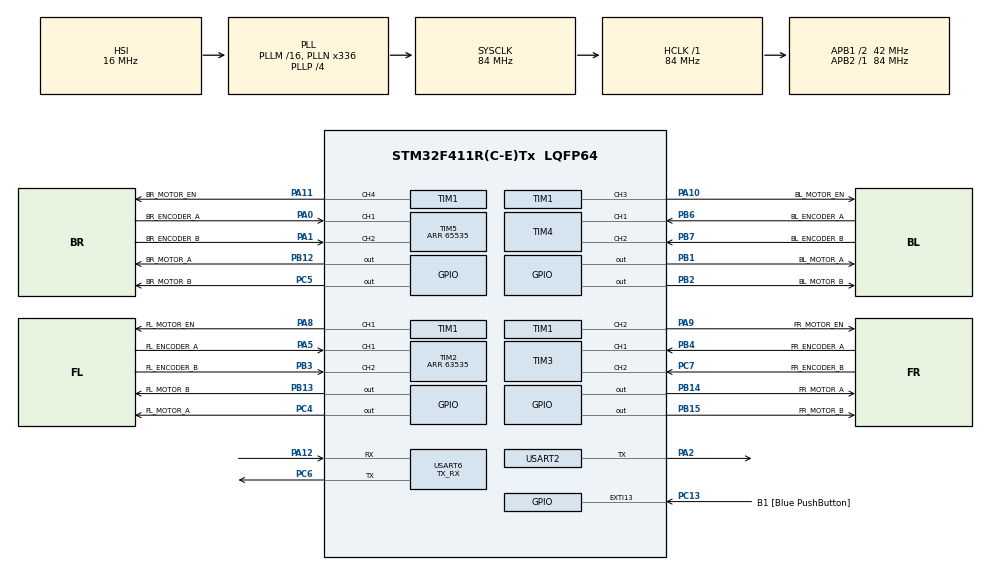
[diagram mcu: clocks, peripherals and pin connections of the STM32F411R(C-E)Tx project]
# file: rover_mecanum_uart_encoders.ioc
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Dma.Request0=USART6_RX
Dma.USART6_RX.0.Direction=DMA_PERIPH_TO_MEMORY
Dma.USART6_RX.0.FIFOMode=DMA_FIFOMODE_DISABLE
Dma.USART6_RX.0.Instance=DMA2_Stream1
Dma.USART6_RX.0.MemDataAlignment=DMA_MDATAALIGN_BYTE
Dma.USART6_RX.0.MemInc=DMA_MINC_ENABLE
Dma.USART6_RX.0.Mode=DMA_CIRCULAR
Dma.USART6_RX.0.PeriphDataAlignment=DMA_PDATAALIGN_BYTE
Dma.USART6_RX.0.PeriphInc=DMA_PINC_DISABLE
Dma.USART6_RX.0.Priority=DMA_PRIORITY_LOW
FREERTOS.Tasks01=defaultTask,24,512,StartDefaultTask,Default,NULL,Dynamic,NULL,NULL
FREERTOS.configUSE_NEWLIB_REENTRANT=1
Mcu.Family=STM32F4
Mcu.Name=STM32F411R(C-E)Tx
Mcu.Package=LQFP64
NVIC.DMA2_Stream1_IRQn=true\:5\:0\:false\:false\:true\:true\:false\:true\:true
NVIC.EXTI15_10_IRQn=true\:5\:0\:false\:false\:true\:true\:true\:true\:true
NVIC.PriorityGroup=NVIC_PRIORITYGROUP_4
NVIC.TIM1_TRG_COM_TIM11_IRQn=true\:15\:0\:false\:false\:true\:false\:false\:true\:true
NVIC.TIM1_UP_TIM10_IRQn=true\:5\:0\:false\:false\:true\:true\:true\:true\:true
NVIC.TimeBase=TIM1_TRG_COM_TIM11_IRQn
NVIC.TimeBaseIP=TIM11
NVIC.USART6_IRQn=true\:5\:0\:false\:false\:true\:true\:true\:true\:true
PA0-WKUP.GPIO_Label=BR_ENCODER_A
PA0-WKUP.Signal=S_TIM5_CH1
PA1.GPIO_Label=BR_ENCODER_B
PA1.Signal=S_TIM5_CH2
PA10.GPIO_Label=BL_MOTOR_EN
PA10.Signal=S_TIM1_CH3
PA11.GPIO_Label=BR_MOTOR_EN
PA11.Signal=S_TIM1_CH4
PA12.Mode=Asynchronous
PA12.Signal=USART6_RX
PA13.GPIO_Label=TMS
PA13.Mode=Serial_Wire
PA13.Signal=SYS_JTMS-SWDIO
PA14.GPIO_Label=TCK
PA14.Mode=Serial_Wire
PA14.Signal=SYS_JTCK-SWCLK
PA2.Mode=Half_duplex(single_wire_mode)
PA2.Signal=USART2_TX
PA5.GPIO_Label=FL_ENCODER_A
PA5.Signal=S_TIM2_CH1_ETR
PA8.GPIO_Label=FL_MOTOR_EN
PA8.Signal=S_TIM1_CH1
PA9.GPIO_Label=FR_MOTOR_EN
PA9.Signal=S_TIM1_CH2
PB1.GPIO_Label=BL_MOTOR_A
PB1.Signal=GPIO_Output
PB12.GPIO_Label=BR_MOTOR_A
PB12.Signal=GPIO_Output
PB13.GPIO_Label=FL_MOTOR_B
PB13.Signal=GPIO_Output
PB14.GPIO_Label=FR_MOTOR_A
PB14.Signal=GPIO_Output
PB15.GPIO_Label=FR_MOTOR_B
PB15.Signal=GPIO_Output
PB2.GPIO_Label=BL_MOTOR_B
PB2.Signal=GPIO_Output
PB3.GPIO_Label=FL_ENCODER_B
PB3.Signal=S_TIM2_CH2
PB4.GPIO_Label=FR_ENCODER_A
PB4.Signal=S_TIM3_CH1
PB6.GPIO_Label=BL_ENCODER_A
PB6.Signal=S_TIM4_CH1
PB7.GPIO_Label=BL_ENCODER_B
PB7.Signal=S_TIM4_CH2
PC13-ANTI_TAMP.GPIO_Label=B1 [Blue PushButton]
PC13-ANTI_TAMP.GPIO_ModeDefaultEXTI=GPIO_MODE_IT_RISING_FALLING
PC13-ANTI_TAMP.Signal=GPXTI13
PC14-OSC32_IN.Mode=LSE-External-Oscillator
PC14-OSC32_IN.Signal=RCC_OSC32_IN
PC15-OSC32_OUT.Mode=LSE-External-Oscillator
PC15-OSC32_OUT.Signal=RCC_OSC32_OUT
PC4.GPIO_Label=FL_MOTOR_A
PC4.Signal=GPIO_Output
PC5.GPIO_Label=BR_MOTOR_B
PC5.Signal=GPIO_Output
PC6.Mode=Asynchronous
PC6.Signal=USART6_TX
PC7.GPIO_Label=FR_ENCODER_B
PC7.Signal=S_TIM3_CH2
PH0\ -\ OSC_IN.Mode=HSE-External-Clock-Source
PH0\ -\ OSC_IN.Signal=RCC_OSC_IN
PH1\ -\ OSC_OUT.Mode=HSE-External-Clock-Source
PH1\ -\ OSC_OUT.Signal=RCC_OSC_OUT
ProjectManager.HeapSize=0x200
ProjectManager.StackSize=0x400
ProjectManager.TargetToolchain=STM32CubeIDE
RCC.48MHZClocksFreq_Value=84000000
RCC.AHBFreq_Value=84000000
RCC.APB1CLKDivider=RCC_HCLK_DIV2
RCC.APB1Freq_Value=42000000
RCC.APB1TimFreq_Value=84000000
RCC.APB2Freq_Value=84000000
RCC.APB2TimFreq_Value=84000000
RCC.CortexFreq_Value=84000000
RCC.FLatency-AdvancedSettings=FLASH_LATENCY_2
RCC.HCLKFreq_Value=84000000
RCC.HSE_VALUE=8000000
RCC.HSI_VALUE=16000000
RCC.PLLN=336
RCC.PLLP=RCC_PLLP_DIV4
RCC.SYSCLKFreq_VALUE=84000000
RCC.SYSCLKSource=RCC_SYSCLKSOURCE_PLLCLK
RCC.VCOOutputFreq_Value=336000000
SH.S_TIM1_CH1.0=TIM1_CH1,PWM Generation1 CH1
SH.S_TIM1_CH2.0=TIM1_CH2,PWM Generation2 CH2
SH.S_TIM1_CH3.0=TIM1_CH3,PWM Generation3 CH3
SH.S_TIM1_CH4.0=TIM1_CH4,PWM Generation4 CH4
SH.S_TIM2_CH1_ETR.0=TIM2_CH1,Encoder_Interface
SH.S_TIM2_CH2.0=TIM2_CH2,Encoder_Interface
SH.S_TIM3_CH1.0=TIM3_CH1,Encoder_Interface
SH.S_TIM3_CH2.0=TIM3_CH2,Encoder_Interface
SH.S_TIM4_CH1.0=TIM4_CH1,Encoder_Interface
SH.S_TIM4_CH2.0=TIM4_CH2,Encoder_Interface
SH.S_TIM5_CH1.0=TIM5_CH1,Encoder_Interface
SH.S_TIM5_CH2.0=TIM5_CH2,Encoder_Interface
TIM1.Channel-PWM\ Generation1\ CH1=TIM_CHANNEL_1
TIM1.Channel-PWM\ Generation2\ CH2=TIM_CHANNEL_2
TIM1.Channel-PWM\ Generation3\ CH3=TIM_CHANNEL_3
TIM1.Channel-PWM\ Generation4\ CH4=TIM_CHANNEL_4
TIM1.Period=8400
TIM1.Prescaler=9
TIM10.Period=1000 - 1
TIM10.Prescaler=8400 - 1
TIM2.EncoderMode=TIM_ENCODERMODE_TI12
TIM2.Period=63535
TIM3.EncoderMode=TIM_ENCODERMODE_TI12
TIM4.EncoderMode=TIM_ENCODERMODE_TI12
TIM5.EncoderMode=TIM_ENCODERMODE_TI12
TIM5.Period=65535
USART2.Mode=MODE_TX
USART2.VirtualMode=VM_ASYNC
USART6.Mode=MODE_TX_RX
USART6.VirtualMode=VM_ASYNC
VP_FREERTOS_VS_CMSIS_V2.Mode=CMSIS_V2
VP_SYS_VS_tim11.Mode=TIM11
VP_TIM10_VS_ClockSourceINT.Mode=Enable_Timer
VP_TIM1_VS_ClockSourceINT.Mode=Internal
board=NUCLEO-F411RE

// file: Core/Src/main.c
/* USER CODE BEGIN Header */
/**
  ******************************************************************************
  * @file           : main.c
  * @brief          : Main program body
  ******************************************************************************
  * @attention
  *
  * Copyright (c) 2024 STMicroelectronics.
  * All rights reserved.
  *
  * This software is licensed under terms that can be found in the LICENSE file
  * in the root directory of this software component.
  * If no LICENSE file comes with this software, it is provided AS-IS.
  *
  ******************************************************************************
  */
/* USER CODE END Header */
#include "main.h"
#include "cmsis_os.h"

/* USER CODE BEGIN Includes */

#include <mecanum.h>
#include <lwpkt_lwrb_uart.h>

#include <stdio.h>
#include <stdlib.h>
#include <string.h>

#include <cJSON.h>
#include <cJSON_Utils.h>

#include <queue.h>

/* USER CODE END Includes */

/* USER CODE BEGIN PD */

// motors timers
#define FL_MOTOR_TIM htim1
#define FR_MOTOR_TIM htim1
#define BL_MOTOR_TIM htim1
#define BR_MOTOR_TIM htim1

// motors timers channels
#define FL_MOTOR_TIM_CHAN TIM_CHANNEL_1
#define FR_MOTOR_TIM_CHAN TIM_CHANNEL_2
#define BL_MOTOR_TIM_CHAN TIM_CHANNEL_3
#define BR_MOTOR_TIM_CHAN TIM_CHANNEL_4

// motors gpio config
#define FL_MOTOR_A_GPIO_PORT 		FL_MOTOR_A_GPIO_Port
#define FL_MOTOR_A_GPIO_PIN 		FL_MOTOR_A_Pin
#define FL_MOTOR_B_GPIO_PORT 		FL_MOTOR_B_GPIO_Port
#define FL_MOTOR_B_GPIO_PIN 		FL_MOTOR_B_Pin

#define FR_MOTOR_A_GPIO_PORT 		FR_MOTOR_A_GPIO_Port
#define FR_MOTOR_A_GPIO_PIN 		FR_MOTOR_A_Pin
#define FR_MOTOR_B_GPIO_PORT 		FR_MOTOR_B_GPIO_Port
#define FR_MOTOR_B_GPIO_PIN 		FR_MOTOR_B_Pin

#define BL_MOTOR_A_GPIO_PORT 		BL_MOTOR_A_GPIO_Port
#define BL_MOTOR_A_GPIO_PIN 		BL_MOTOR_A_Pin
#define BL_MOTOR_B_GPIO_PORT 		BL_MOTOR_B_GPIO_Port
#define BL_MOTOR_B_GPIO_PIN 		BL_MOTOR_B_Pin

#define BR_MOTOR_A_GPIO_PORT 		BR_MOTOR_A_GPIO_Port
#define BR_MOTOR_A_GPIO_PIN 		BR_MOTOR_A_Pin
#define BR_MOTOR_B_GPIO_PORT 		BR_MOTOR_B_GPIO_Port
#define BR_MOTOR_B_GPIO_PIN 		BR_MOTOR_B_Pin

#define lwpkt_init_event_flag 			((uint32_t)0x00000001)

#define CJSON_NUMBER_OR_ZERO(x) ((cJSON_IsNumber(x) ? cJSON_GetNumberValue(x) : 0.0f))

#define ENCODERS_MEASURE_HTIM htim10

#define FL_ENCODER_HTIM htim2
#define FR_ENCODER_HTIM htim3
#define BL_ENCODER_HTIM htim4
#define BR_ENCODER_HTIM htim5

#define ROVER_HUART huart6

/* USER CODE END PD */

TIM_HandleTypeDef htim1;
TIM_HandleTypeDef htim2;
TIM_HandleTypeDef htim3;
TIM_HandleTypeDef htim4;
TIM_HandleTypeDef htim5;
TIM_HandleTypeDef htim10;

UART_HandleTypeDef huart2;
UART_HandleTypeDef huart6;
DMA_HandleTypeDef hdma_usart6_rx;

/* Definitions for defaultTask */
osThreadId_t defaultTaskHandle;
const osThreadAttr_t defaultTask_attributes = {
  .name = "defaultTask",
  .stack_size = 512 * 4,
  .priority = (osPriority_t) osPriorityNormal,
};
/* USER CODE BEGIN PV */

/* Definitions for timer */
osTimerId_t timerHandle;
const osTimerAttr_t timer_attributes = {
  .name = "timer"
};

osMessageQueueId_t mecanum_encoder_speeds_queueHandle;
const osMessageQueueAttr_t mecanum_encoder_speeds_queue_attributes = {
		.name = "mecanum_encoder_speeds_queue",
};

osSemaphoreId_t mecanum_semHandle;
const osSemaphoreAttr_t mecanum_sem_attributes = {
  .name = "mecanum_sem"
};

motor_t	fl_motor = {
		.timer = 							&FL_MOTOR_TIM,
		.channel = 						FL_MOTOR_TIM_CHAN,
		.dir_pin_1_port = 		FL_MOTOR_A_GPIO_PORT,
		.dir_pin_1 = 					FL_MOTOR_A_GPIO_PIN,
		.dir_pin_2_port = 		FL_MOTOR_B_GPIO_PORT,
		.dir_pin_2 = 					FL_MOTOR_B_GPIO_PIN
};

motor_t	fr_motor = {
		.timer = 							&FR_MOTOR_TIM,
		.channel = 						FR_MOTOR_TIM_CHAN,
		.dir_pin_1_port = 		FR_MOTOR_A_GPIO_PORT,
		.dir_pin_1 = 					FR_MOTOR_A_GPIO_PIN,
		.dir_pin_2_port = 		FR_MOTOR_B_GPIO_PORT,
		.dir_pin_2 = 					FR_MOTOR_B_GPIO_PIN
};

motor_t	bl_motor = {
		.timer = 							&BL_MOTOR_TIM,
		.channel = 						BL_MOTOR_TIM_CHAN,
		.dir_pin_1_port = 		BL_MOTOR_A_GPIO_PORT,
		.dir_pin_1 = 					BL_MOTOR_A_GPIO_PIN,
		.dir_pin_2_port = 		BL_MOTOR_B_GPIO_PORT,
		.dir_pin_2 = 					BL_MOTOR_B_GPIO_PIN
};

motor_t	br_motor = {
		.timer = 							&BR_MOTOR_TIM,
		.channel = 						BR_MOTOR_TIM_CHAN,
		.dir_pin_1_port = 		BR_MOTOR_A_GPIO_PORT,
		.dir_pin_1 = 					BR_MOTOR_A_GPIO_PIN,
		.dir_pin_2_port = 		BR_MOTOR_B_GPIO_PORT,
		.dir_pin_2 = 					BR_MOTOR_B_GPIO_PIN
};

encoder_t fl_encoder = {
		.timer = &FL_ENCODER_HTIM,
};

encoder_t fr_encoder = {
		.timer = &FR_ENCODER_HTIM,
};

encoder_t bl_encoder = {
		.timer = &BL_ENCODER_HTIM,
};

encoder_t br_encoder = {
		.timer = &BR_ENCODER_HTIM,
};

four_wheeled_robot_t robot = {
		.fl_motor = &fl_motor,
		.fr_motor = &fr_motor,
		.bl_motor = &bl_motor,
		.br_motor = &br_motor,

		.fl_encoder = &fl_encoder,
		.fr_encoder = &fr_encoder,
		.bl_encoder = &bl_encoder,
		.br_encoder = &br_encoder,
};

const cJSON_Hooks cjson_hooks = {
		.malloc_fn = pvPortMalloc,
		.free_fn = vPortFree
};

static void uart_lwpkt_evt_fn(lwpkt_t* pkt, lwpkt_evt_type_t type);

const lwpkt_lwrb_uart_init_data_t init_data = {
		.huart_p = &ROVER_HUART,
		.lwpkt_evt_fn = uart_lwpkt_evt_fn
};

/* USER CODE END PV */

void SystemClock_Config(void);
static void MX_GPIO_Init(void);
static void MX_DMA_Init(void);
static void MX_USART2_UART_Init(void);
static void MX_TIM1_Init(void);
static void MX_TIM2_Init(void);
static void MX_TIM3_Init(void);
static void MX_TIM4_Init(void);
static void MX_TIM5_Init(void);
static void MX_USART6_UART_Init(void);
static void MX_TIM10_Init(void);
void StartDefaultTask(void *argument);

/* USER CODE BEGIN PFP */

int _write(int file, char *ptr, int len);
void callback(void* argument);

/* USER CODE END PFP */

int main(void)
{

  /* MCU Configuration--------------------------------------------------------*/

  /* Reset of all peripherals, Initializes the Flash interface and the Systick. */
  HAL_Init();

  /* Configure the system clock */
  SystemClock_Config();

  /* Initialize all configured peripherals */
  MX_GPIO_Init();
  MX_DMA_Init();
  MX_USART2_UART_Init();
  MX_TIM1_Init();
  MX_TIM2_Init();
  MX_TIM3_Init();
  MX_TIM4_Init();
  MX_TIM5_Init();
  MX_USART6_UART_Init();
  MX_TIM10_Init();

  /* Init scheduler */
  osKernelInitialize();

  /* USER CODE BEGIN RTOS_SEMAPHORES */
  /* add semaphores, ... */
  mecanum_semHandle = osSemaphoreNew(1, 1, &mecanum_sem_attributes);
  /* USER CODE END RTOS_SEMAPHORES */

  /* USER CODE BEGIN RTOS_TIMERS */
  /* start timers, add new ones, ... */
  /* Create the timer(s) */
  /* creation of timer */
  timerHandle = osTimerNew(callback, osTimerOnce, NULL, &timer_attributes);
  /* USER CODE END RTOS_TIMERS */

  /* USER CODE BEGIN RTOS_QUEUES */
  /* add queues, ... */
  mecanum_encoder_speeds_queueHandle = osMessageQueueNew(1, sizeof(four_wheeled_robot_encoders_speeds_t), &mecanum_encoder_speeds_queue_attributes);
  /* USER CODE END RTOS_QUEUES */

  /* Create the thread(s) */
  /* creation of defaultTask */
  defaultTaskHandle = osThreadNew(StartDefaultTask, NULL, &defaultTask_attributes);

  /* Start scheduler */
  osKernelStart();

  /* We should never get here as control is now taken by the scheduler */
  /* Infinite loop */
  while (1)
  {

  }
}

void SystemClock_Config(void)
{
  RCC_OscInitTypeDef RCC_OscInitStruct = {0};
  RCC_ClkInitTypeDef RCC_ClkInitStruct = {0};

  /** Configure the main internal regulator output voltage
  */
  __HAL_RCC_PWR_CLK_ENABLE();
  __HAL_PWR_VOLTAGESCALING_CONFIG(PWR_REGULATOR_VOLTAGE_SCALE1);

  /** Initializes the RCC Oscillators according to the specified parameters
  * in the RCC_OscInitTypeDef structure.
  */
  RCC_OscInitStruct.OscillatorType = RCC_OSCILLATORTYPE_HSI;
  RCC_OscInitStruct.HSIState = RCC_HSI_ON;
  RCC_OscInitStruct.HSICalibrationValue = RCC_HSICALIBRATION_DEFAULT;
  RCC_OscInitStruct.PLL.PLLState = RCC_PLL_ON;
  RCC_OscInitStruct.PLL.PLLSource = RCC_PLLSOURCE_HSI;
  RCC_OscInitStruct.PLL.PLLM = 16;
  RCC_OscInitStruct.PLL.PLLN = 336;
  RCC_OscInitStruct.PLL.PLLP = RCC_PLLP_DIV4;
  RCC_OscInitStruct.PLL.PLLQ = 4;
  if (HAL_RCC_OscConfig(&RCC_OscInitStruct) != HAL_OK)
  {
    Error_Handler();
  }

  /** Initializes the CPU, AHB and APB buses clocks
  */
  RCC_ClkInitStruct.ClockType = RCC_CLOCKTYPE_HCLK|RCC_CLOCKTYPE_SYSCLK
                              |RCC_CLOCKTYPE_PCLK1|RCC_CLOCKTYPE_PCLK2;
  RCC_ClkInitStruct.SYSCLKSource = RCC_SYSCLKSOURCE_PLLCLK;
  RCC_ClkInitStruct.AHBCLKDivider = RCC_SYSCLK_DIV1;
  RCC_ClkInitStruct.APB1CLKDivider = RCC_HCLK_DIV2;
  RCC_ClkInitStruct.APB2CLKDivider = RCC_HCLK_DIV1;

  if (HAL_RCC_ClockConfig(&RCC_ClkInitStruct, FLASH_LATENCY_2) != HAL_OK)
  {
    Error_Handler();
  }
}

static void MX_TIM1_Init(void)
{

  TIM_ClockConfigTypeDef sClockSourceConfig = {0};
  TIM_MasterConfigTypeDef sMasterConfig = {0};
  TIM_OC_InitTypeDef sConfigOC = {0};
  TIM_BreakDeadTimeConfigTypeDef sBreakDeadTimeConfig = {0};

  htim1.Instance = TIM1;
  htim1.Init.Prescaler = 9;
  htim1.Init.CounterMode = TIM_COUNTERMODE_UP;
  htim1.Init.Period = 8400;
  htim1.Init.ClockDivision = TIM_CLOCKDIVISION_DIV1;
  htim1.Init.RepetitionCounter = 0;
  htim1.Init.AutoReloadPreload = TIM_AUTORELOAD_PRELOAD_DISABLE;
  if (HAL_TIM_Base_Init(&htim1) != HAL_OK)
  {
    Error_Handler();
  }
  sClockSourceConfig.ClockSource = TIM_CLOCKSOURCE_INTERNAL;
  if (HAL_TIM_ConfigClockSource(&htim1, &sClockSourceConfig) != HAL_OK)
  {
    Error_Handler();
  }
  if (HAL_TIM_PWM_Init(&htim1) != HAL_OK)
  {
    Error_Handler();
  }
  sMasterConfig.MasterOutputTrigger = TIM_TRGO_RESET;
  sMasterConfig.MasterSlaveMode = TIM_MASTERSLAVEMODE_DISABLE;
  if (HAL_TIMEx_MasterConfigSynchronization(&htim1, &sMasterConfig) != HAL_OK)
  {
    Error_Handler();
  }
  sConfigOC.OCMode = TIM_OCMODE_PWM1;
  sConfigOC.Pulse = 0;
  sConfigOC.OCPolarity = TIM_OCPOLARITY_HIGH;
  sConfigOC.OCNPolarity = TIM_OCNPOLARITY_HIGH;
  sConfigOC.OCFastMode = TIM_OCFAST_DISABLE;
  sConfigOC.OCIdleState = TIM_OCIDLESTATE_RESET;
  sConfigOC.OCNIdleState = TIM_OCNIDLESTATE_RESET;
  if (HAL_TIM_PWM_ConfigChannel(&htim1, &sConfigOC, TIM_CHANNEL_1) != HAL_OK)
  {
    Error_Handler();
  }
  if (HAL_TIM_PWM_ConfigChannel(&htim1, &sConfigOC, TIM_CHANNEL_2) != HAL_OK)
  {
    Error_Handler();
  }
  if (HAL_TIM_PWM_ConfigChannel(&htim1, &sConfigOC, TIM_CHANNEL_3) != HAL_OK)
  {
    Error_Handler();
  }
  if (HAL_TIM_PWM_ConfigChannel(&htim1, &sConfigOC, TIM_CHANNEL_4) != HAL_OK)
  {
    Error_Handler();
  }
  sBreakDeadTimeConfig.OffStateRunMode = TIM_OSSR_DISABLE;
  sBreakDeadTimeConfig.OffStateIDLEMode = TIM_OSSI_DISABLE;
  sBreakDeadTimeConfig.LockLevel = TIM_LOCKLEVEL_OFF;
  sBreakDeadTimeConfig.DeadTime = 0;
  sBreakDeadTimeConfig.BreakState = TIM_BREAK_DISABLE;
  sBreakDeadTimeConfig.BreakPolarity = TIM_BREAKPOLARITY_HIGH;
  sBreakDeadTimeConfig.AutomaticOutput = TIM_AUTOMATICOUTPUT_DISABLE;
  if (HAL_TIMEx_ConfigBreakDeadTime(&htim1, &sBreakDeadTimeConfig) != HAL_OK)
  {
    Error_Handler();
  }
  HAL_TIM_MspPostInit(&htim1);

}

static void MX_TIM2_Init(void)
{

  TIM_Encoder_InitTypeDef sConfig = {0};
  TIM_MasterConfigTypeDef sMasterConfig = {0};

  htim2.Instance = TIM2;
  htim2.Init.Prescaler = 0;
  htim2.Init.CounterMode = TIM_COUNTERMODE_UP;
  htim2.Init.Period = 63535;
  htim2.Init.ClockDivision = TIM_CLOCKDIVISION_DIV1;
  htim2.Init.AutoReloadPreload = TIM_AUTORELOAD_PRELOAD_DISABLE;
  sConfig.EncoderMode = TIM_ENCODERMODE_TI12;
  sConfig.IC1Polarity = TIM_ICPOLARITY_RISING;
  sConfig.IC1Selection = TIM_ICSELECTION_DIRECTTI;
  sConfig.IC1Prescaler = TIM_ICPSC_DIV1;
  sConfig.IC1Filter = 0;
  sConfig.IC2Polarity = TIM_ICPOLARITY_RISING;
  sConfig.IC2Selection = TIM_ICSELECTION_DIRECTTI;
  sConfig.IC2Prescaler = TIM_ICPSC_DIV1;
  sConfig.IC2Filter = 0;
  if (HAL_TIM_Encoder_Init(&htim2, &sConfig) != HAL_OK)
  {
    Error_Handler();
  }
  sMasterConfig.MasterOutputTrigger = TIM_TRGO_RESET;
  sMasterConfig.MasterSlaveMode = TIM_MASTERSLAVEMODE_DISABLE;
  if (HAL_TIMEx_MasterConfigSynchronization(&htim2, &sMasterConfig) != HAL_OK)
  {
    Error_Handler();
  }

}

static void MX_TIM3_Init(void)
{

  TIM_Encoder_InitTypeDef sConfig = {0};
  TIM_MasterConfigTypeDef sMasterConfig = {0};

  htim3.Instance = TIM3;
  htim3.Init.Prescaler = 0;
  htim3.Init.CounterMode = TIM_COUNTERMODE_UP;
  htim3.Init.Period = 65535;
  htim3.Init.ClockDivision = TIM_CLOCKDIVISION_DIV1;
  htim3.Init.AutoReloadPreload = TIM_AUTORELOAD_PRELOAD_DISABLE;
  sConfig.EncoderMode = TIM_ENCODERMODE_TI12;
  sConfig.IC1Polarity = TIM_ICPOLARITY_RISING;
  sConfig.IC1Selection = TIM_ICSELECTION_DIRECTTI;
  sConfig.IC1Prescaler = TIM_ICPSC_DIV1;
  sConfig.IC1Filter = 0;
  sConfig.IC2Polarity = TIM_ICPOLARITY_RISING;
  sConfig.IC2Selection = TIM_ICSELECTION_DIRECTTI;
  sConfig.IC2Prescaler = TIM_ICPSC_DIV1;
  sConfig.IC2Filter = 0;
  if (HAL_TIM_Encoder_Init(&htim3, &sConfig) != HAL_OK)
  {
    Error_Handler();
  }
  sMasterConfig.MasterOutputTrigger = TIM_TRGO_RESET;
  sMasterConfig.MasterSlaveMode = TIM_MASTERSLAVEMODE_DISABLE;
  if (HAL_TIMEx_MasterConfigSynchronization(&htim3, &sMasterConfig) != HAL_OK)
  {
    Error_Handler();
  }

}

static void MX_TIM4_Init(void)
{

  TIM_Encoder_InitTypeDef sConfig = {0};
  TIM_MasterConfigTypeDef sMasterConfig = {0};

  htim4.Instance = TIM4;
  htim4.Init.Prescaler = 0;
  htim4.Init.CounterMode = TIM_COUNTERMODE_UP;
  htim4.Init.Period = 65535;
  htim4.Init.ClockDivision = TIM_CLOCKDIVISION_DIV1;
  htim4.Init.AutoReloadPreload = TIM_AUTORELOAD_PRELOAD_DISABLE;
  sConfig.EncoderMode = TIM_ENCODERMODE_TI12;
  sConfig.IC1Polarity = TIM_ICPOLARITY_RISING;
  sConfig.IC1Selection = TIM_ICSELECTION_DIRECTTI;
  sConfig.IC1Prescaler = TIM_ICPSC_DIV1;
  sConfig.IC1Filter = 0;
  sConfig.IC2Polarity = TIM_ICPOLARITY_RISING;
  sConfig.IC2Selection = TIM_ICSELECTION_DIRECTTI;
  sConfig.IC2Prescaler = TIM_ICPSC_DIV1;
  sConfig.IC2Filter = 0;
  if (HAL_TIM_Encoder_Init(&htim4, &sConfig) != HAL_OK)
  {
    Error_Handler();
  }
  sMasterConfig.MasterOutputTrigger = TIM_TRGO_RESET;
  sMasterConfig.MasterSlaveMode = TIM_MASTERSLAVEMODE_DISABLE;
  if (HAL_TIMEx_MasterConfigSynchronization(&htim4, &sMasterConfig) != HAL_OK)
  {
    Error_Handler();
  }

}

static void MX_TIM5_Init(void)
{

  TIM_Encoder_InitTypeDef sConfig = {0};
  TIM_MasterConfigTypeDef sMasterConfig = {0};

  htim5.Instance = TIM5;
  htim5.Init.Prescaler = 0;
  htim5.Init.CounterMode = TIM_COUNTERMODE_UP;
  htim5.Init.Period = 65535;
  htim5.Init.ClockDivision = TIM_CLOCKDIVISION_DIV1;
  htim5.Init.AutoReloadPreload = TIM_AUTORELOAD_PRELOAD_DISABLE;
  sConfig.EncoderMode = TIM_ENCODERMODE_TI12;
  sConfig.IC1Polarity = TIM_ICPOLARITY_RISING;
  sConfig.IC1Selection = TIM_ICSELECTION_DIRECTTI;
  sConfig.IC1Prescaler = TIM_ICPSC_DIV1;
  sConfig.IC1Filter = 0;
  sConfig.IC2Polarity = TIM_ICPOLARITY_RISING;
  sConfig.IC2Selection = TIM_ICSELECTION_DIRECTTI;
  sConfig.IC2Prescaler = TIM_ICPSC_DIV1;
  sConfig.IC2Filter = 0;
  if (HAL_TIM_Encoder_Init(&htim5, &sConfig) != HAL_OK)
  {
    Error_Handler();
  }
  sMasterConfig.MasterOutputTrigger = TIM_TRGO_RESET;
  sMasterConfig.MasterSlaveMode = TIM_MASTERSLAVEMODE_DISABLE;
  if (HAL_TIMEx_MasterConfigSynchronization(&htim5, &sMasterConfig) != HAL_OK)
  {
    Error_Handler();
  }

}

static void MX_TIM10_Init(void)
{

  htim10.Instance = TIM10;
  htim10.Init.Prescaler = 8400 - 1;
  htim10.Init.CounterMode = TIM_COUNTERMODE_UP;
  htim10.Init.Period = 1000 - 1;
  htim10.Init.ClockDivision = TIM_CLOCKDIVISION_DIV1;
  htim10.Init.AutoReloadPreload = TIM_AUTORELOAD_PRELOAD_DISABLE;
  if (HAL_TIM_Base_Init(&htim10) != HAL_OK)
  {
    Error_Handler();
  }

}

static void MX_USART2_UART_Init(void)
{

  huart2.Instance = USART2;
  huart2.Init.BaudRate = 115200;
  huart2.Init.WordLength = UART_WORDLENGTH_8B;
  huart2.Init.StopBits = UART_STOPBITS_1;
  huart2.Init.Parity = UART_PARITY_NONE;
  huart2.Init.Mode = UART_MODE_TX;
  huart2.Init.HwFlowCtl = UART_HWCONTROL_NONE;
  huart2.Init.OverSampling = UART_OVERSAMPLING_16;
  if (HAL_HalfDuplex_Init(&huart2) != HAL_OK)
  {
    Error_Handler();
  }

}

static void MX_USART6_UART_Init(void)
{

  huart6.Instance = USART6;
  huart6.Init.BaudRate = 115200;
  huart6.Init.WordLength = UART_WORDLENGTH_8B;
  huart6.Init.StopBits = UART_STOPBITS_1;
  huart6.Init.Parity = UART_PARITY_NONE;
  huart6.Init.Mode = UART_MODE_TX_RX;
  huart6.Init.HwFlowCtl = UART_HWCONTROL_NONE;
  huart6.Init.OverSampling = UART_OVERSAMPLING_16;
  if (HAL_UART_Init(&huart6) != HAL_OK)
  {
    Error_Handler();
  }

}

static void MX_DMA_Init(void)
{

  /* DMA controller clock enable */
  __HAL_RCC_DMA2_CLK_ENABLE();

  /* DMA interrupt init */
  /* DMA2_Stream1_IRQn interrupt configuration */
  HAL_NVIC_SetPriority(DMA2_Stream1_IRQn, 5, 0);
  HAL_NVIC_EnableIRQ(DMA2_Stream1_IRQn);

}

static void MX_GPIO_Init(void)
{
  GPIO_InitTypeDef GPIO_InitStruct = {0};

  /* GPIO Ports Clock Enable */
  __HAL_RCC_GPIOC_CLK_ENABLE();
  __HAL_RCC_GPIOH_CLK_ENABLE();
  __HAL_RCC_GPIOA_CLK_ENABLE();
  __HAL_RCC_GPIOB_CLK_ENABLE();

  /*Configure GPIO pin Output Level */
  HAL_GPIO_WritePin(GPIOC, FL_MOTOR_A_Pin|BR_MOTOR_B_Pin, GPIO_PIN_RESET);

  /*Configure GPIO pin Output Level */
  HAL_GPIO_WritePin(GPIOB, BL_MOTOR_A_Pin|BL_MOTOR_B_Pin|BR_MOTOR_A_Pin|FL_MOTOR_B_Pin
                          |FR_MOTOR_A_Pin|FR_MOTOR_B_Pin, GPIO_PIN_RESET);

  /*Configure GPIO pin : B1_Pin */
  GPIO_InitStruct.Pin = B1_Pin;
  GPIO_InitStruct.Mode = GPIO_MODE_IT_RISING_FALLING;
  GPIO_InitStruct.Pull = GPIO_NOPULL;
  HAL_GPIO_Init(B1_GPIO_Port, &GPIO_InitStruct);

  /*Configure GPIO pins : FL_MOTOR_A_Pin BR_MOTOR_B_Pin */
  GPIO_InitStruct.Pin = FL_MOTOR_A_Pin|BR_MOTOR_B_Pin;
  GPIO_InitStruct.Mode = GPIO_MODE_OUTPUT_PP;
  GPIO_InitStruct.Pull = GPIO_NOPULL;
  GPIO_InitStruct.Speed = GPIO_SPEED_FREQ_LOW;
  HAL_GPIO_Init(GPIOC, &GPIO_InitStruct);

  /*Configure GPIO pins : BL_MOTOR_A_Pin BL_MOTOR_B_Pin BR_MOTOR_A_Pin FL_MOTOR_B_Pin
                           FR_MOTOR_A_Pin FR_MOTOR_B_Pin */
  GPIO_InitStruct.Pin = BL_MOTOR_A_Pin|BL_MOTOR_B_Pin|BR_MOTOR_A_Pin|FL_MOTOR_B_Pin
                          |FR_MOTOR_A_Pin|FR_MOTOR_B_Pin;
  GPIO_InitStruct.Mode = GPIO_MODE_OUTPUT_PP;
  GPIO_InitStruct.Pull = GPIO_NOPULL;
  GPIO_InitStruct.Speed = GPIO_SPEED_FREQ_LOW;
  HAL_GPIO_Init(GPIOB, &GPIO_InitStruct);

  /* EXTI interrupt init*/
  HAL_NVIC_SetPriority(EXTI15_10_IRQn, 5, 0);
  HAL_NVIC_EnableIRQ(EXTI15_10_IRQn);

}

/* USER CODE BEGIN 4 */

int _write(int file, char *ptr, int len){
	HAL_UART_Transmit(&huart2, (uint8_t*)ptr, len, HAL_MAX_DELAY);
	return len;
}

static void uart_lwpkt_evt_fn(lwpkt_t* pkt, lwpkt_evt_type_t type){
	switch (type) {
		case LWPKT_EVT_PKT:
			size_t len = lwpkt_get_data_len(pkt);
			char* data = (char*)lwpkt_get_data(pkt);
			printf("Packet received, size(%d)", len);//, data(%.*s)\r\n", len, len, data);

			cJSON* parsed_json = cJSON_ParseWithLength(data, len);
			if (cJSON_IsObject(parsed_json)){
				printf("A json object\r\n");

				cJSON* power_json = cJSON_GetObjectItem(parsed_json, "p");
				cJSON* theta_json = cJSON_GetObjectItem(parsed_json, "th");
				cJSON* turn_json = cJSON_GetObjectItem(parsed_json, "tu");
				cJSON* stop_json = cJSON_GetObjectItem(parsed_json, "stop");

				osSemaphoreAcquire(mecanum_semHandle, osWaitForever);

				if (cJSON_IsTrue(stop_json)) {
					printf("Robot stopped\r\n");
					mecanum_robot_stop(&robot);
				} else {
					if (cJSON_IsNumber(power_json) || cJSON_IsNumber(theta_json) || cJSON_IsNumber(turn_json)){
						float power = CJSON_NUMBER_OR_ZERO(power_json);
						float theta = CJSON_NUMBER_OR_ZERO(theta_json);
						float turn = CJSON_NUMBER_OR_ZERO(turn_json);

						printf("Power: %f, Theta: %f, Turn: %f\r\n", power, theta, turn);

						mecanum_robot_move(&robot, power, theta, turn);
					} else {
						printf("All necessary key/value pairs missing\r\n");
					}
				}

				osSemaphoreRelease(mecanum_semHandle);

				osTimerStart(timerHandle, pdMS_TO_TICKS(300));

			} else {
				printf("Not a json object\r\n");
			}

			cJSON_Delete(parsed_json);
			break;
		default:
			break;
	}
}

void HAL_UARTEx_RxEventCallback(UART_HandleTypeDef *huart, uint16_t Size) {
  if (huart->Instance == USART6) {
    lwrb_uart_callback(Size);
  }
}

void HAL_GPIO_EXTI_Callback(uint16_t GPIO_Pin)
{
  if(GPIO_Pin == B1_Pin) {
  	if (osSemaphoreAcquire(mecanum_semHandle, 0) == osOK){
			GPIO_PinState state = HAL_GPIO_ReadPin(B1_GPIO_Port, B1_Pin);
			if (state == GPIO_PIN_SET) {
				mecanum_robot_stop(&robot);
			} else {
				mecanum_robot_move(&robot, 0.5f, 1.57f, 0.0f);
			}
	    osSemaphoreRelease(mecanum_semHandle);
  	}
  }
}

void callback(void* argument){
	printf("callback\r\n");
	if (osSemaphoreAcquire(mecanum_semHandle, 0) == osOK){
		mecanum_robot_stop(&robot);
		osSemaphoreRelease(mecanum_semHandle);
	}
}

/* USER CODE END 4 */

void StartDefaultTask(void *argument)
{
  /* USER CODE BEGIN 5 */
	printf("Start\r\n");

	cJSON_InitHooks(&cjson_hooks);
	printf("cJSON hooks set\r\n");

	mecanum_robot_init(&robot, HAL_GetTick());

	lwpkt_lwrb_uart_init(&init_data);
	printf("lwpkt initialized\r\n");

	HAL_TIM_Base_Start_IT(&htim10);

	/* Infinite loop */
	for(;;)
	{
		four_wheeled_robot_encoders_speeds_t speeds;
		osMessageQueueGet(mecanum_encoder_speeds_queueHandle, &speeds, NULL, osWaitForever);

		cJSON* root_object = cJSON_CreateObject();

		cJSON* fl_speed = cJSON_CreateNumber(speeds.fl_speed);
		cJSON* fr_speed = cJSON_CreateNumber(speeds.fl_speed);
		cJSON* bl_speed = cJSON_CreateNumber(speeds.fl_speed);
		cJSON* br_speed = cJSON_CreateNumber(speeds.fl_speed);

		cJSON_AddItemToObject(root_object, "fl_speed", fl_speed);
		cJSON_AddItemToObject(root_object, "fr_speed", fr_speed);
		cJSON_AddItemToObject(root_object, "bl_speed", bl_speed);
		cJSON_AddItemToObject(root_object, "br_speed", br_speed);

		char* output = cJSON_Print(root_object);
		size_t size = strlen(output);

		uart_lwpkt_write((void*)output, size);
		printf("fl:%f;fr:%f;bl:%f;br:%f\r\n", speeds.fl_speed, speeds.fr_speed, speeds.bl_speed, speeds.br_speed);

		cJSON_Delete(root_object);
		cjson_hooks.free_fn(output);

		osDelay(1000);
	}
  /* USER CODE END 5 */
}

void HAL_TIM_PeriodElapsedCallback(TIM_HandleTypeDef *htim)
{
  if (htim->Instance == TIM11) {
    HAL_IncTick();
  }
  /* USER CODE BEGIN Callback 1 */

  else if (htim->Instance == TIM10) {

  	mecanum_robot_encoders_callback(&robot, HAL_GetTick());

  	four_wheeled_robot_encoders_speeds_t speeds;
  	mecanum_robot_get_encoder_speeds(&robot, &speeds);

  	speeds.fl_speed *= 1000.0f;
  	speeds.fr_speed *= 1000.0f;
  	speeds.bl_speed *= 1000.0f;
  	speeds.br_speed *= 1000.0f;

  	BaseType_t xHigherPriorityTaskWoken = pdFALSE;

  	xQueueOverwriteFromISR((QueueHandle_t)mecanum_encoder_speeds_queueHandle, &speeds, &xHigherPriorityTaskWoken);

	portYIELD_FROM_ISR(xHigherPriorityTaskWoken);

	}

  /* USER CODE END Callback 1 */
}

void Error_Handler(void)
{
  __disable_irq();
  while (1)
  {
  }
}
